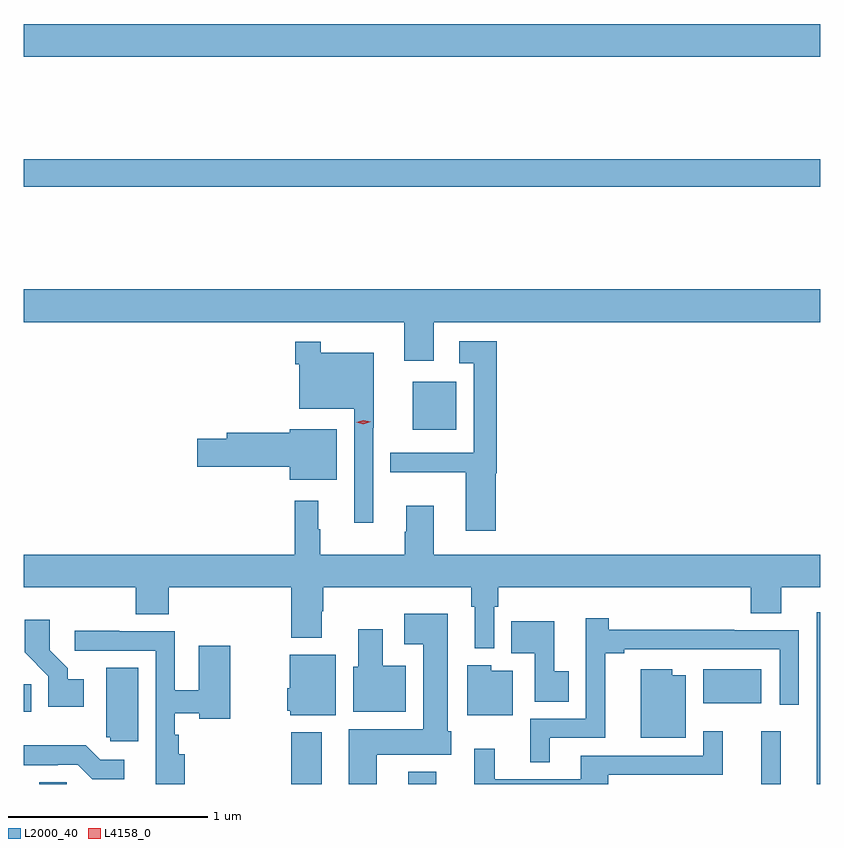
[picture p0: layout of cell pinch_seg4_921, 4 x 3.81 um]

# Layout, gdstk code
import gdstk
lib = gdstk.Library(unit=1e-6, precision=1e-09)
def R(c, l, rs):  # rectangles x0, y0, x1, y1
    for r in rs: c.add(gdstk.rectangle(r[:2], r[2:], *l))
def P(c, l, *ps):  # polygons
    for p in ps: c.add(gdstk.Polygon(p, *l))
L2000_40 = (2000, 40)
L4158_0 = (4158, 0)

pinch_seg4_921 = lib.new_cell('pinch_seg4_921')
R(pinch_seg4_921, L2000_40, [(682.025,802.493,682.164,802.502), (683.291,802.493,683.443,802.753), (683.879,802.493,684.019,802.555), (685.649,802.493,685.748,802.759), (685.928,802.493,685.947,803.356), (681.947,802.856,681.986,802.994), (685.358,802.898,685.651,803.068), (683.9,804.272,684.118,804.511), (681.947,805.492,685.947,805.628), (681.947,806.144,685.947,806.308)])
P(pinch_seg4_921, L2000_40, [(684.007,804.812),(685.947,804.812),(685.947,804.976),(681.947,804.976),(681.947,804.812),(683.858,804.812),(683.858,804.618),(684.007,804.618)],
  [(684.317,804.053),(684.323,804.053),(684.323,804.715),(684.135,804.715),(684.135,804.605),(684.207,804.605),(684.207,804.156),(683.788,804.156),(683.788,804.059),(684.167,804.059),(684.167,803.763),(684.317,803.763)],
  [(683.703,804.281),(683.705,804.281),(683.705,804.658),(683.44,804.658),(683.44,804.712),(683.311,804.712),(683.311,804.599),(683.331,804.599),(683.331,804.377),(683.607,804.377),(683.607,803.805),(683.703,803.805)],
  [(683.518,804.274),(683.282,804.274),(683.282,804.257),(682.967,804.257),(682.967,804.227),(682.818,804.227),(682.818,804.085),(683.282,804.085),(683.282,804.02),(683.518,804.02)],
  [(684.007,803.89),(683.867,803.89),(683.867,803.759),(683.86,803.759),(683.86,803.644),(683.437,803.644),(683.437,803.771),(683.426,803.771),(683.426,803.914),(683.308,803.914),(683.308,803.644),(681.947,803.644),(681.947,803.48),(682.511,803.48),(682.511,803.344),(682.676,803.344),(682.676,803.48),(683.291,803.48),(683.291,803.228),(683.443,803.228),(683.443,803.36),(683.451,803.36),(683.451,803.48),(684.193,803.48),(684.193,803.384),(684.212,803.384),(684.212,803.174),(684.309,803.174),(684.309,803.384),(684.329,803.384),(684.329,803.48),(685.598,803.48),(685.598,803.35),(685.75,803.35),(685.75,803.48),(685.947,803.48),(685.947,803.644),(684.007,803.644)],
  [(683.719,802.64),(684.094,802.64),(684.094,802.758),(684.076,802.758),(684.076,803.347),(683.859,803.347),(683.859,803.195),(683.954,803.195),(683.954,802.768),(683.579,802.768),(683.579,802.493),(683.719,802.493)],
  [(684.589,802.725),(684.866,802.725),(684.866,803.149),(684.961,803.149),(684.961,803.169),(685.743,803.169),(685.743,802.89),(685.839,802.89),(685.839,803.265),(685.514,803.265),(685.514,803.267),(684.884,803.267),(684.884,803.326),(684.768,803.326),(684.768,802.821),(684.491,802.821),(684.491,802.601),(684.589,802.601)],
  [(682.249,803.02),(682.168,803.02),(682.168,803.075),(682.078,803.165),(682.078,803.317),(681.952,803.317),(681.952,803.154),(682.071,803.035),(682.071,802.88),(682.249,802.88)],
  [(684.683,803.058),(684.61,803.058),(684.61,803.311),(684.394,803.311),(684.394,803.15),(684.513,803.15),(684.513,802.906),(684.683,802.906)],
  [(683.866,803.086),(683.749,803.086),(683.749,803.269),(683.627,803.269),(683.627,803.082),(683.603,803.082),(683.603,802.856),(683.866,802.856)],
  [(682.757,802.642),(682.727,802.642),(682.727,802.739),(682.707,802.739),(682.707,802.847),(682.83,802.847),(682.83,802.82),(682.984,802.82),(682.984,803.188),(682.826,803.188),(682.826,802.964),(682.707,802.964),(682.707,803.259),(682.427,803.259),(682.427,803.262),(682.203,803.262),(682.203,803.163),(682.611,803.163),(682.611,802.638),(682.61,802.638),(682.61,802.493),(682.757,802.493)],
  [(683.515,803.143),(683.282,803.143),(683.282,802.974),(683.27,802.974),(683.27,802.86),(683.286,802.86),(683.286,802.838),(683.515,802.838)],
  [(684.403,803.062),(684.294,803.062),(684.294,803.089),(684.173,803.089),(684.173,802.838),(684.403,802.838)],
  [(682.522,803.077),(682.361,803.077),(682.361,802.728),(682.383,802.728),(682.383,802.707),(682.522,802.707)],
  [(685.27,803.038),(685.204,803.038),(685.204,803.068),(685.046,803.068),(685.046,802.724),(685.27,802.724)],
  [(684.883,802.539),(685.457,802.539),(685.457,802.759),(685.359,802.759),(685.359,802.635),(684.743,802.635),(684.743,802.516),(684.313,802.516),(684.313,802.669),(684.209,802.669),(684.209,802.493),(684.883,802.493)],
  [(682.453,802.614),(682.332,802.614),(682.259,802.687),(681.947,802.687),(681.947,802.587),(682.118,802.587),(682.118,802.59),(682.218,802.59),(682.291,802.517),(682.453,802.517)])
P(pinch_seg4_921, L4158_0, [(683.653,804.3),(683.617,804.308),(683.617,804.308),(683.617,804.309),(683.653,804.32),(683.689,804.311),(683.689,804.311),(683.689,804.311)])

lib.write_gds('pinch_seg4_921.gds')
